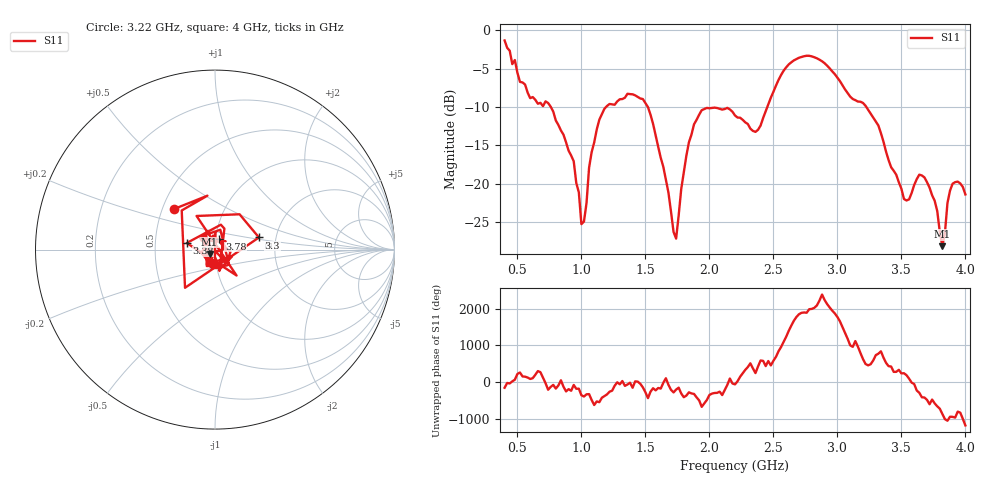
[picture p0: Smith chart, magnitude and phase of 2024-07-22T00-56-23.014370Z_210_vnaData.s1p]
!Created with skrf (http://scikit-rf.org).
# Hz S RI R 50.0
!freq ReS11 ImS11
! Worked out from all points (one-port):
!   181 points, 400 MHz to 4 GHz, reference 50 ohm
!   lowest |S11| = -28.1 dB at 3.82 GHz (marker M1), VSWR 1.08, Z = 47 - j2.32 ohm
!   |S11| at or under -10 dB: 761.2 MHz to 1.193 GHz (431.5 MHz wide, 44.2 % of centre); 1.519 GHz to 2.452 GHz (932.9 MHz wide, 47 % of centre); 3.226 GHz to end of sweep
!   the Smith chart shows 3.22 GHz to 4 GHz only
!   S11 on the Smith chart (normalised r, x): 3.22 GHz: 0.57, +0.29; 3.3 GHz: 1.63, +0.24; 3.38 GHz: 0.73, +0.05; 3.78 GHz: 1.04, +0.13; 4 GHz: 0.98, -0.17
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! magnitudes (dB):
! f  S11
! 400 MHz  -1.3
! 520 MHz  -6.7
! 860 MHz  -13.6
! 940 MHz  -17.1
! 1 GHz  -25.3
! 1.14 GHz  -11.7
! 1.3 GHz  -9.0
! 1.52 GHz  -10.0
! 1.64 GHz  -17.8
! 1.72 GHz  -26.3
! 1.74 GHz  -27.2
! 1.76 GHz  -24.1
! 1.84 GHz  -14.6
! 1.92 GHz  -11.0
! 2.2 GHz  -11.1
! 2.38 GHz  -13.0
! 2.66 GHz  -3.9
! 2.88 GHz  -4.0
! 3.1 GHz  -8.6
! 3.22 GHz  -9.9
! 3.3 GHz  -11.9
! 3.38 GHz  -15.8
! 3.56 GHz  -22.0
! 3.66 GHz  -18.9
! 3.78 GHz  -23.6
! 3.82 GHz  -28.1
! 3.9 GHz  -20.0
! 4 GHz  -21.4
